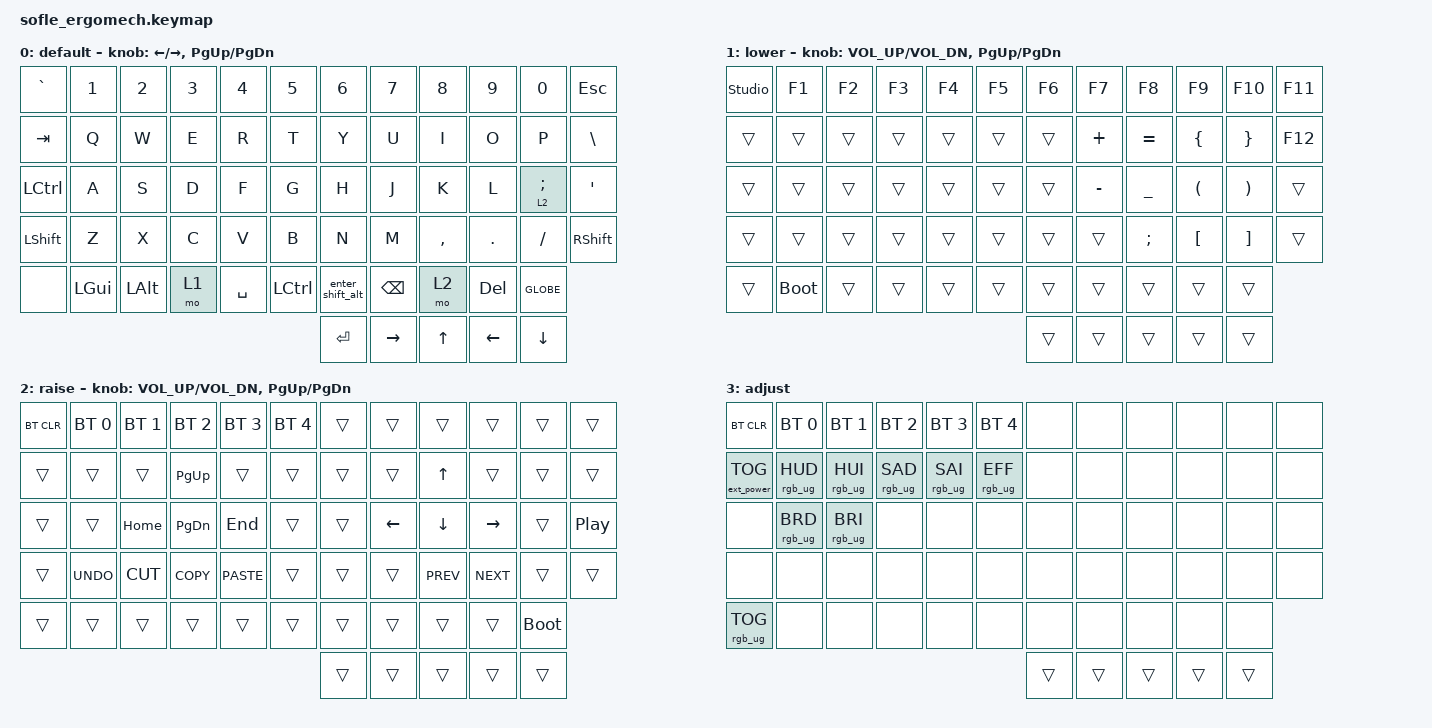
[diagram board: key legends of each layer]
/*
 * Copyright (c) 2020 The ZMK Contributors
 *
 * SPDX-License-Identifier: MIT
 */

#include <behaviors.dtsi>
#include <dt-bindings/zmk/bt.h>
#include <dt-bindings/zmk/ext_power.h>
#include <dt-bindings/zmk/keys.h>
#include <dt-bindings/zmk/rgb.h>

#define BASE 0
#define LOWER 1
#define RAISE 2
#define ADJUST 3

/ {
    // Activate ADJUST layer by pressing raise and lower

    conditional_layers {
        compatible = "zmk,conditional-layers";

        adjust_layer {
            if-layers = <LOWER RAISE>;
            then-layer = <ADJUST>;
        };
    };

    combos {
        compatible = "zmk,combos";

        dash {
            bindings = <&kp MINUS>;
            key-positions = <32 31>;
            layers = <0>;
        };

        left_paren {
            bindings = <&kp LEFT_PARENTHESIS>;
            key-positions = <32 33>;
            layers = <0>;
        };

        right_paren {
            bindings = <&kp RIGHT_PARENTHESIS>;
            key-positions = <33 34>;
            layers = <0>;
        };

        left_brace {
            bindings = <&kp LEFT_BRACE>;
            key-positions = <20 21>;
            layers = <0>;
        };

        right_brace {
            bindings = <&kp RIGHT_BRACE>;
            key-positions = <21 22>;
            layers = <0>;
        };

        left_bracket {
            bindings = <&kp LEFT_BRACKET>;
            key-positions = <44 45>;
            layers = <0>;
        };

        right_bracket {
            bindings = <&kp RIGHT_BRACKET>;
            key-positions = <46 45>;
            layers = <0>;
        };

        underscore {
            bindings = <&kp UNDERSCORE>;
            key-positions = <19 20>;
            layers = <0>;
        };

        equals {
            bindings = <&kp EQUAL>;
            key-positions = <43 44>;
            layers = <0>;
        };

        plus {
            bindings = <&kp PLUS>;
            key-positions = <30 31>;
            layers = <0>;
        };

        symbol_exclaim {
            bindings = <&kp EXCLAMATION>;
            key-positions = <13 25>;
        };

        symbol_at {
            bindings = <&kp AT_SIGN>;
            key-positions = <14 26>;
        };

        symbol_hash {
            bindings = <&kp HASH>;
            key-positions = <15 27>;
        };

        symbol_dollar {
            bindings = <&kp DOLLAR>;
            key-positions = <16 28>;
        };

        symbol_pct {
            bindings = <&kp PERCENT>;
            key-positions = <17 29>;
        };

        symbol_caret {
            bindings = <&kp CARET>;
            key-positions = <18 30>;
        };

        symbol_ampersand {
            bindings = <&kp AMPERSAND>;
            key-positions = <19 31>;
        };

        symbol_asterisk {
            bindings = <&kp ASTERISK>;
            key-positions = <20 32>;
        };
    };

    behaviors {
        enter_shift_alt: enter_shift_alt {
            compatible = "zmk,behavior-tap-dance";
            label = "ENTER_SHIFT_ALT";
            #binding-cells = <0>;
            bindings = <&mt LSHFT ENTER>, <&kp LEFT_ALT>;
        };
    };

    keymap {
        compatible = "zmk,keymap";

        default_layer {
            label = "default";

            // ------------------------------------------------------------------------------------------------------------
            // |   `   |  1  |  2  |  3   |  4   |  5   |                   |  6   |  7    |  8    |  9   |   0   |       |
            // |  ESC  |  Q  |  W  |  E   |  R   |  T   |                   |  Y   |  U    |  I    |  O   |   P   | BKSPC |
            // |  TAB  |  A  |  S  |  D   |  F   |  G   |                   |  H   |  J    |  K    |  L   |   ;   |   '   |
            // | SHIFT |  Z  |  X  |  C   |  V   |  B   |  MUTE  |  |       |  N   |  M    |  ,    |  .   |   /   | SHIFT |
            //               | GUI | ALT  | CTRL | LOWER|  ENTER |  | SPACE | RAISE| CTRL  | ALT   | GUI  |

            bindings = <
&kp GRAVE  &kp N1        &kp N2    &kp N3  &kp N4     &kp N5     &kp N6            &kp N7           &kp N8        &kp N9          &kp N0           &kp ESCAPE
&kp TAB    &kp Q         &kp W     &kp E   &kp R      &kp T      &kp Y             &kp U            &kp I         &kp O           &kp P            &kp BACKSLASH
&kp LCTRL  &kp A         &kp S     &kp D   &kp F      &kp G      &kp H             &kp J            &kp K         &kp L           &lt 2 SEMICOLON  &kp SQT
&kp LSHFT  &kp Z         &kp X     &kp C   &kp V      &kp B      &kp N             &kp M            &kp COMMA     &kp DOT         &kp FSLH         &kp RSHFT
&none      &kp LEFT_GUI  &kp LALT  &mo 1   &kp SPACE  &kp LCTRL  &enter_shift_alt  &kp BACKSPACE    &mo 2         &kp DELETE      &kp GLOBE
                                                                 &kp ENTER         &kp RIGHT_ARROW  &kp UP_ARROW  &kp LEFT_ARROW  &kp DOWN
            >;

            sensor-bindings =
                <&inc_dec_kp LEFT_ARROW RIGHT>,
                <&inc_dec_kp PG_UP PG_DN>;
        };

        lower_layer {
            label = "lower";

            // TODO: Some binds are waiting for shifted keycode support.
            // ------------------------------------------------------------------------------------------------------------
            // |       |  F1 |  F2 |  F3  |  F4  |  F5  |                   |  F6  |  F7   |  F8   |  F9  |  F10  |  F11  |
            // |   `   |  1  |  2  |  3   |  4   |  5   |                   |  6   |  7    |  8    |  9   |   0   |  F12  |
            // |       |  !  |  @  |  #   |  $   |  %   |                   |  ^   |  &    |  *    |  (   |   )   |   |   |
            // |       |  =  |  -  |  +   |  {   |  }   |        |  |       |  [   |  ]    |  ;    |  :   |   \   |       |
            //               |     |      |      |      |        |  |       |      |       |       |      |

            bindings = <
&studio_unlock  &kp F1       &kp F2  &kp F3  &kp F4  &kp F5  &kp F6  &kp F7     &kp F8          &kp F9                &kp F10                &kp F11
&trans          &trans       &trans  &trans  &trans  &trans  &trans  &kp PLUS   &kp EQUAL       &kp LEFT_BRACE        &kp RIGHT_BRACE        &kp F12
&trans          &trans       &trans  &trans  &trans  &trans  &trans  &kp MINUS  &kp UNDERSCORE  &kp LEFT_PARENTHESIS  &kp RIGHT_PARENTHESIS  &trans
&trans          &trans       &trans  &trans  &trans  &trans  &trans  &trans     &kp SEMI        &kp LEFT_BRACKET      &kp RIGHT_BRACKET      &trans
&trans          &bootloader  &trans  &trans  &trans  &trans  &trans  &trans     &trans          &trans                &trans
                                                             &trans  &trans     &trans          &trans                &trans
            >;

            sensor-bindings = <&inc_dec_kp C_VOL_UP C_VOL_DN &inc_dec_kp PG_UP PG_DN>;
        };

        raise_layer {
            label = "raise";

            // ------------------------------------------------------------------------------------------------------------
            // | BTCLR | BT1  | BT2  |  BT3  |  BT4  |  BT5 |                |      |      |       |      |       |       |
            // |       | INS  | PSCR | GUI   |       |      |                | PGUP |      |   ^   |      |       |       |
            // |       | ALT  | CTRL | SHIFT |       | CAPS |                | PGDN |   <- |   v   |  ->  |  DEL  | BKSPC |
            // |       | UNDO | CUT  | COPY  | PASTE |      |      |  |      |      |      |       |      |       |       |
            //                |      |       |       |      |      |  |      |      |      |       |      |

            bindings = <
&bt BT_CLR  &bt BT_SEL 0  &bt BT_SEL 1  &bt BT_SEL 2   &bt BT_SEL 3  &bt BT_SEL 4  &trans  &trans    &trans      &trans      &trans       &trans
&trans      &trans        &trans        &kp PAGE_UP    &trans        &trans        &trans  &trans    &kp UP      &trans      &trans       &trans
&trans      &trans        &kp HOME      &kp PAGE_DOWN  &kp END       &trans        &trans  &kp LEFT  &kp DOWN    &kp RIGHT   &trans       &kp C_PP
&trans      &kp K_UNDO    &kp K_CUT     &kp K_COPY     &kp K_PASTE   &trans        &trans  &trans    &kp C_PREV  &kp C_NEXT  &trans       &trans
&trans      &trans        &trans        &trans         &trans        &trans        &trans  &trans    &trans      &trans      &bootloader
                                                                                   &trans  &trans    &trans      &trans      &trans
            >;

            sensor-bindings = <&inc_dec_kp C_VOL_UP C_VOL_DN &inc_dec_kp PG_UP PG_DN>;
        };

        adjust_layer {
            // ----------------------------------------------------------------------------------------------------------------------------
            // | BTCLR  |  BT1    |  BT2    |   BT3   |   BT4   |   BT5   |                  |      |      |       |      |       |       |
            // | EXTPWR | RGB_HUD | RGB_HUI | RGB_SAD | RGB_SAI | RGB_EFF |                  |      |      |       |      |       |       |
            // |        | RGB_BRD | RGB_BRI |         |         |         |                  |      |      |       |      |       |       |
            // |        |         |         |         |         |         | RGB_TOG | |      |      |      |       |      |       |       |
            //                    |         |         |         |         |         | |      |      |      |       |      |

            label = "adjust";
            bindings = <
&bt BT_CLR         &bt BT_SEL 0     &bt BT_SEL 1     &bt BT_SEL 2     &bt BT_SEL 3     &bt BT_SEL 4     &none   &none   &none   &none   &none   &none
&ext_power EP_TOG  &rgb_ug RGB_HUD  &rgb_ug RGB_HUI  &rgb_ug RGB_SAD  &rgb_ug RGB_SAI  &rgb_ug RGB_EFF  &none   &none   &none   &none   &none   &none
&none              &rgb_ug RGB_BRD  &rgb_ug RGB_BRI  &none            &none            &none            &none   &none   &none   &none   &none   &none
&none              &none            &none            &none            &none            &none            &none   &none   &none   &none   &none   &none
&rgb_ug RGB_TOG    &none            &none            &none            &none            &none            &none   &none   &none   &none   &none
                                                                                                        &trans  &trans  &trans  &trans  &trans
            >;
        };
    };
};
